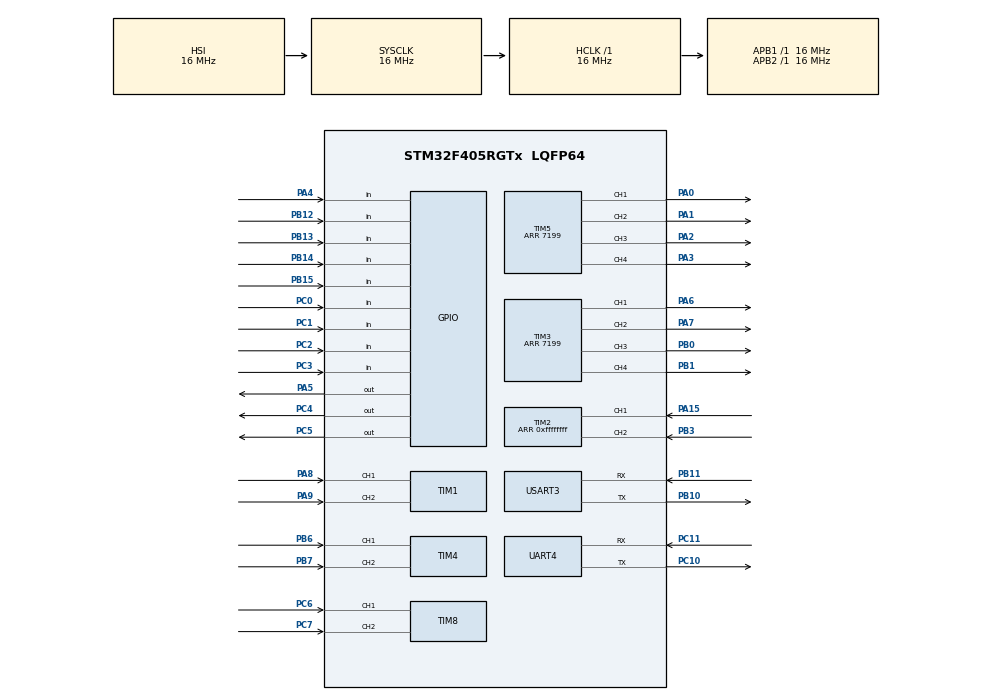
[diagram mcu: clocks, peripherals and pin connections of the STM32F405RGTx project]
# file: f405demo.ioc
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Dma.Request0=USART3_RX
Dma.Request1=USART3_TX
Dma.USART3_RX.0.Direction=DMA_PERIPH_TO_MEMORY
Dma.USART3_RX.0.FIFOMode=DMA_FIFOMODE_DISABLE
Dma.USART3_RX.0.Instance=DMA1_Stream1
Dma.USART3_RX.0.MemDataAlignment=DMA_MDATAALIGN_BYTE
Dma.USART3_RX.0.MemInc=DMA_MINC_ENABLE
Dma.USART3_RX.0.Mode=DMA_CIRCULAR
Dma.USART3_RX.0.PeriphDataAlignment=DMA_PDATAALIGN_BYTE
Dma.USART3_RX.0.PeriphInc=DMA_PINC_DISABLE
Dma.USART3_RX.0.Priority=DMA_PRIORITY_LOW
Dma.USART3_TX.1.Direction=DMA_MEMORY_TO_PERIPH
Dma.USART3_TX.1.FIFOMode=DMA_FIFOMODE_DISABLE
Dma.USART3_TX.1.Instance=DMA1_Stream3
Dma.USART3_TX.1.MemDataAlignment=DMA_MDATAALIGN_BYTE
Dma.USART3_TX.1.MemInc=DMA_MINC_ENABLE
Dma.USART3_TX.1.Mode=DMA_CIRCULAR
Dma.USART3_TX.1.PeriphDataAlignment=DMA_PDATAALIGN_BYTE
Dma.USART3_TX.1.PeriphInc=DMA_PINC_DISABLE
Dma.USART3_TX.1.Priority=DMA_PRIORITY_LOW
FREERTOS.Tasks01=defaultTask,24,128,StartDefaultTask,Default,NULL,Dynamic,NULL,NULL;motor_move,48,512,motor_move_entry,Default,NULL,Dynamic,NULL,NULL;remote_control,49,256,remote_control_entry,Default,NULL,Dynamic,NULL,NULL
FREERTOS.configENABLE_FPU=1
Mcu.Family=STM32F4
Mcu.Name=STM32F405RGTx
Mcu.Package=LQFP64
Mcu.UserConstants=soft_reset,$$_IWDG_IP_HANDLE_$$
NVIC.DMA1_Stream1_IRQn=true\:5\:0\:false\:false\:true\:true\:false\:true\:true
NVIC.DMA1_Stream3_IRQn=true\:5\:0\:false\:false\:true\:true\:false\:true\:true
NVIC.PriorityGroup=NVIC_PRIORITYGROUP_4
NVIC.TIM8_TRG_COM_TIM14_IRQn=true\:5\:0\:false\:false\:true\:false\:false\:true\:true
NVIC.TimeBase=TIM8_TRG_COM_TIM14_IRQn
NVIC.TimeBaseIP=TIM14
NVIC.UART4_IRQn=true\:5\:0\:false\:false\:true\:true\:true\:true\:true
NVIC.USART3_IRQn=true\:5\:0\:false\:false\:true\:true\:true\:true\:true
PA0-WKUP.GPIO_PuPd=GPIO_NOPULL
PA0-WKUP.GPIO_Speed=GPIO_SPEED_FREQ_LOW
PA0-WKUP.Signal=S_TIM5_CH1
PA1.GPIO_PuPd=GPIO_NOPULL
PA1.GPIO_Speed=GPIO_SPEED_FREQ_LOW
PA1.Signal=S_TIM5_CH2
PA13.Mode=Serial_Wire
PA13.Signal=SYS_JTMS-SWDIO
PA14.Mode=Serial_Wire
PA14.Signal=SYS_JTCK-SWCLK
PA15.GPIO_PuPd=GPIO_PULLUP
PA15.GPIO_Speed=GPIO_SPEED_FREQ_VERY_HIGH
PA15.Signal=S_TIM2_CH1_ETR
PA2.Signal=S_TIM5_CH3
PA3.Signal=S_TIM5_CH4
PA4.GPIO_PuPd=GPIO_PULLUP
PA4.Signal=GPIO_Input
PA5.GPIO_PuPd=GPIO_PULLUP
PA5.GPIO_Speed=GPIO_SPEED_FREQ_VERY_HIGH
PA5.PinState=GPIO_PIN_RESET
PA5.Signal=GPIO_Output
PA6.Signal=S_TIM3_CH1
PA7.Signal=S_TIM3_CH2
PA8.GPIO_PuPd=GPIO_PULLUP
PA8.GPIO_Speed=GPIO_SPEED_FREQ_VERY_HIGH
PA8.Signal=S_TIM1_CH1
PA9.GPIO_PuPd=GPIO_PULLUP
PA9.GPIO_Speed=GPIO_SPEED_FREQ_VERY_HIGH
PA9.Signal=S_TIM1_CH2
PB0.Signal=S_TIM3_CH3
PB1.Signal=S_TIM3_CH4
PB10.GPIO_PuPd=GPIO_PULLUP
PB10.Mode=Asynchronous
PB10.Signal=USART3_TX
PB11.GPIO_PuPd=GPIO_PULLUP
PB11.Mode=Asynchronous
PB11.Signal=USART3_RX
PB12.Signal=GPIO_Input
PB13.Signal=GPIO_Input
PB14.Signal=GPIO_Input
PB15.Signal=GPIO_Input
PB3.GPIO_PuPd=GPIO_PULLUP
PB3.GPIO_Speed=GPIO_SPEED_FREQ_VERY_HIGH
PB3.Signal=S_TIM2_CH2
PB6.GPIO_PuPd=GPIO_PULLUP
PB6.GPIO_Speed=GPIO_SPEED_FREQ_VERY_HIGH
PB6.Signal=S_TIM4_CH1
PB7.GPIO_PuPd=GPIO_PULLUP
PB7.GPIO_Speed=GPIO_SPEED_FREQ_VERY_HIGH
PB7.Signal=S_TIM4_CH2
PC0.Signal=GPIO_Input
PC1.Signal=GPIO_Input
PC10.Mode=Asynchronous
PC10.Signal=UART4_TX
PC11.Mode=Asynchronous
PC11.Signal=UART4_RX
PC2.Signal=GPIO_Input
PC3.Signal=GPIO_Input
PC4.GPIO_PuPd=GPIO_PULLUP
PC4.GPIO_Speed=GPIO_SPEED_FREQ_VERY_HIGH
PC4.Signal=GPIO_Output
PC5.GPIO_PuPd=GPIO_PULLUP
PC5.GPIO_Speed=GPIO_SPEED_FREQ_VERY_HIGH
PC5.Signal=GPIO_Output
PC6.GPIO_PuPd=GPIO_PULLUP
PC6.GPIO_Speed=GPIO_SPEED_FREQ_VERY_HIGH
PC6.Signal=S_TIM8_CH1
PC7.GPIO_PuPd=GPIO_PULLUP
PC7.GPIO_Speed=GPIO_SPEED_FREQ_VERY_HIGH
PC7.Signal=S_TIM8_CH2
ProjectManager.HeapSize=0x200
ProjectManager.StackSize=0x400
ProjectManager.TargetToolchain=CMake
RCC.AHBFreq_Value=16000000
RCC.APB1Freq_Value=16000000
RCC.APB2Freq_Value=16000000
RCC.CortexFreq_Value=16000000
RCC.HSE_VALUE=25000000
RCC.HSI_VALUE=16000000
RCC.LSE_VALUE=32768
RCC.SYSCLKFreq_VALUE=16000000
RCC.VCOOutputFreq_Value=192000000
SH.S_TIM1_CH1.0=TIM1_CH1,Encoder_Interface
SH.S_TIM1_CH2.0=TIM1_CH2,Encoder_Interface
SH.S_TIM2_CH1_ETR.0=TIM2_CH1,Encoder_Interface
SH.S_TIM2_CH2.0=TIM2_CH2,Encoder_Interface
SH.S_TIM3_CH1.0=TIM3_CH1,PWM Generation1 CH1
SH.S_TIM3_CH2.0=TIM3_CH2,PWM Generation2 CH2
SH.S_TIM3_CH3.0=TIM3_CH3,PWM Generation3 CH3
SH.S_TIM3_CH4.0=TIM3_CH4,PWM Generation4 CH4
SH.S_TIM4_CH1.0=TIM4_CH1,Encoder_Interface
SH.S_TIM4_CH2.0=TIM4_CH2,Encoder_Interface
SH.S_TIM5_CH1.0=TIM5_CH1,PWM Generation1 CH1
SH.S_TIM5_CH2.0=TIM5_CH2,PWM Generation2 CH2
SH.S_TIM5_CH3.0=TIM5_CH3,PWM Generation3 CH3
SH.S_TIM5_CH4.0=TIM5_CH4,PWM Generation4 CH4
SH.S_TIM8_CH1.0=TIM8_CH1,Encoder_Interface
SH.S_TIM8_CH2.0=TIM8_CH2,Encoder_Interface
TIM1.EncoderMode=TIM_ENCODERMODE_TI12
TIM2.EncoderMode=TIM_ENCODERMODE_TI12
TIM2.Period=0xffffffff
TIM3.Channel-PWM\ Generation1\ CH1=TIM_CHANNEL_1
TIM3.Channel-PWM\ Generation2\ CH2=TIM_CHANNEL_2
TIM3.Channel-PWM\ Generation3\ CH3=TIM_CHANNEL_3
TIM3.Channel-PWM\ Generation4\ CH4=TIM_CHANNEL_4
TIM3.Period=7199
TIM3.TIM_MasterOutputTrigger=TIM_TRGO_OC1
TIM4.EncoderMode=TIM_ENCODERMODE_TI12
TIM5.Channel-PWM\ Generation1\ CH1=TIM_CHANNEL_1
TIM5.Channel-PWM\ Generation2\ CH2=TIM_CHANNEL_2
TIM5.Channel-PWM\ Generation3\ CH3=TIM_CHANNEL_3
TIM5.Channel-PWM\ Generation4\ CH4=TIM_CHANNEL_4
TIM5.Period=7199
TIM5.TIM_MasterOutputTrigger=TIM_TRGO_OC1
TIM8.EncoderMode=TIM_ENCODERMODE_TI12
UART4.VirtualMode=Asynchronous
USART3.VirtualMode=VM_ASYNC
VP_FREERTOS_VS_CMSIS_V2.Mode=CMSIS_V2
VP_IWDG_VS_IWDG.Mode=IWDG_Activate
VP_SYS_VS_tim14.Mode=TIM14
VP_TIM3_VS_ClockSourceINT.Mode=Internal
VP_TIM5_VS_ClockSourceINT.Mode=Internal
board=custom

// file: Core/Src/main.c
/* USER CODE BEGIN Header */
/**
  ******************************************************************************
  * @file           : main.c
  * @brief          : Main program body
  ******************************************************************************
  * @attention
  *
  * Copyright (c) 2025 STMicroelectronics.
  * All rights reserved.
  *
  * This software is licensed under terms that can be found in the LICENSE file
  * in the root directory of this software component.
  * If no LICENSE file comes with this software, it is provided AS-IS.
  *
  ******************************************************************************
  */
/* USER CODE END Header */
#include "main.h"
#include "cmsis_os.h"
#include "dma.h"
#include "iwdg.h"
#include "tim.h"
#include "usart.h"
#include "gpio.h"

/* USER CODE BEGIN Includes */
#include "MotorContrl.h"
#include "ax_ps2.h"
/* USER CODE END Includes */

/* USER CODE BEGIN PTD */
extern JOYSTICK_TypeDef joystick_state;  //�ֱ���ֵ�ṹ��
/* USER CODE END PTD */

void SystemClock_Config(void);
void MX_FREERTOS_Init(void);

int main(void)
{

  /* MCU Configuration--------------------------------------------------------*/

  /* Reset of all peripherals, Initializes the Flash interface and the Systick. */
  HAL_Init();

  /* Configure the system clock */
  SystemClock_Config();

  /* Initialize all configured peripherals */
  MX_GPIO_Init();
  MX_DMA_Init();
  MX_TIM3_Init();
  MX_TIM5_Init();
  MX_IWDG_Init();
  MX_TIM1_Init();
  MX_TIM2_Init();
  MX_TIM4_Init();
  MX_TIM8_Init();
  MX_USART3_UART_Init();
  MX_UART4_Init();
  /* USER CODE BEGIN 2 */
	Motor_init();
  /* USER CODE END 2 */

  /* Init scheduler */
  osKernelInitialize();  /* Call init function for freertos objects (in cmsis_os2.c) */
  MX_FREERTOS_Init();

  /* Start scheduler */
  osKernelStart();

  /* We should never get here as control is now taken by the scheduler */

  /* Infinite loop */
  while (1)
  {

  }
}

void SystemClock_Config(void)
{
  RCC_OscInitTypeDef RCC_OscInitStruct = {0};
  RCC_ClkInitTypeDef RCC_ClkInitStruct = {0};

  /** Configure the main internal regulator output voltage
  */
  __HAL_RCC_PWR_CLK_ENABLE();
  __HAL_PWR_VOLTAGESCALING_CONFIG(PWR_REGULATOR_VOLTAGE_SCALE1);

  /** Initializes the RCC Oscillators according to the specified parameters
  * in the RCC_OscInitTypeDef structure.
  */
  RCC_OscInitStruct.OscillatorType = RCC_OSCILLATORTYPE_HSI|RCC_OSCILLATORTYPE_LSI;
  RCC_OscInitStruct.HSIState = RCC_HSI_ON;
  RCC_OscInitStruct.HSICalibrationValue = RCC_HSICALIBRATION_DEFAULT;
  RCC_OscInitStruct.LSIState = RCC_LSI_ON;
  RCC_OscInitStruct.PLL.PLLState = RCC_PLL_NONE;
  if (HAL_RCC_OscConfig(&RCC_OscInitStruct) != HAL_OK)
  {
    Error_Handler();
  }

  /** Initializes the CPU, AHB and APB buses clocks
  */
  RCC_ClkInitStruct.ClockType = RCC_CLOCKTYPE_HCLK|RCC_CLOCKTYPE_SYSCLK
                              |RCC_CLOCKTYPE_PCLK1|RCC_CLOCKTYPE_PCLK2;
  RCC_ClkInitStruct.SYSCLKSource = RCC_SYSCLKSOURCE_HSI;
  RCC_ClkInitStruct.AHBCLKDivider = RCC_SYSCLK_DIV1;
  RCC_ClkInitStruct.APB1CLKDivider = RCC_HCLK_DIV1;
  RCC_ClkInitStruct.APB2CLKDivider = RCC_HCLK_DIV1;

  if (HAL_RCC_ClockConfig(&RCC_ClkInitStruct, FLASH_LATENCY_0) != HAL_OK)
  {
    Error_Handler();
  }
}

void HAL_TIM_PeriodElapsedCallback(TIM_HandleTypeDef *htim)
{
  if (htim->Instance == TIM14)
  {
    HAL_IncTick();
  }
}

void Error_Handler(void)
{
  __disable_irq();
  while (1)
  {
  }
}

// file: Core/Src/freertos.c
/* USER CODE BEGIN Header */
/**
  ******************************************************************************
  * File Name          : freertos.c
  * Description        : Code for freertos applications
  ******************************************************************************
  * @attention
  *
  * Copyright (c) 2025 STMicroelectronics.
  * All rights reserved.
  *
  * This software is licensed under terms that can be found in the LICENSE file
  * in the root directory of this software component.
  * If no LICENSE file comes with this software, it is provided AS-IS.
  *
  ******************************************************************************
  */
/* USER CODE END Header */

#include "FreeRTOS.h"
#include "task.h"
#include "main.h"
#include "cmsis_os.h"

/* USER CODE BEGIN Includes */
#include "MotorContrl.h"
#include "usart.h"
#include <string.h>    // Ϊ memset, strncpy, strlen �Ⱥ���
#include <stdlib.h>    // Ϊ strtol ����
#include "ax_ps2.h"    // Ϊ parse_joystick_data ����������
#include "telemetry_uart4.h"
#include "tim.h"
#include <stdio.h>
/* USER CODE END Includes */

/* Definitions for defaultTask */
osThreadId_t defaultTaskHandle;
const osThreadAttr_t defaultTask_attributes = {
  .name = "defaultTask",
  .stack_size = 128 * 4,
  .priority = (osPriority_t) osPriorityNormal,
};
/* Definitions for motor_move */
osThreadId_t motor_moveHandle;
const osThreadAttr_t motor_move_attributes = {
  .name = "motor_move",
  .stack_size = 512 * 4,
  .priority = (osPriority_t) osPriorityRealtime,
};
/* Definitions for remote_control */
osThreadId_t remote_controlHandle;
const osThreadAttr_t remote_control_attributes = {
  .name = "remote_control",
  .stack_size = 256 * 4,
  .priority = (osPriority_t) osPriorityRealtime1,
};
/* Definitions for uart4_test */
osThreadId_t uart4_testHandle;
const osThreadAttr_t uart4_test_attributes = {
  .name = "uart4_test",
  .stack_size = 256 * 4,
  .priority = (osPriority_t) osPriorityLow,
};

void StartDefaultTask(void *argument);
void motor_move_entry(void *argument);
void remote_control_entry(void *argument);
void uart4_test_entry(void *argument);

void MX_FREERTOS_Init(void); /* (MISRA C 2004 rule 8.1) */

void MX_FREERTOS_Init(void) {

  /* Create the thread(s) */
  /* creation of defaultTask */
  defaultTaskHandle = osThreadNew(StartDefaultTask, NULL, &defaultTask_attributes);

  /* creation of motor_move */
  motor_moveHandle = osThreadNew(motor_move_entry, NULL, &motor_move_attributes);

  /* creation of remote_control */
  remote_controlHandle = osThreadNew(remote_control_entry, NULL, &remote_control_attributes);

  /* creation of uart4_test */
  uart4_testHandle = osThreadNew(uart4_test_entry, NULL, &uart4_test_attributes);

}

void StartDefaultTask(void *argument)
{
  for(;;)
  {
    osDelay(1);
  }
}

void motor_move_entry(void *argument)
{
  /* USER CODE BEGIN motor_move_entry */
  /* Infinite loop */
  for(;;)
  {
    if (v_input.source != INPUT_SOURCE_NONE) {
      Motor_apply_input(v_input);
    }
    osDelay(10);
  }
  /* USER CODE END motor_move_entry */
}

void remote_control_entry(void *argument)
{
  /* USER CODE BEGIN remote_control_entry */
  /* Infinite loop */
  for(;;)
  {

	if (uart_rx_complete) {
    uint16_t i = 0;
    uint8_t mode = 0;

    for (i = 0; i < RX_BUFFER_SIZE - 1; i++) {
      if ((uint8_t)uart_rx_buffer[i] == 0xAA && (uint8_t)uart_rx_buffer[i + 1] == 0x55) {
        if (i + 2 < RX_BUFFER_SIZE) {
          mode = (uint8_t)uart_rx_buffer[i + 2];
        }
        break;
      }
    }

    if (mode == 0x73) {
      if (parse_joystick_data((uint8_t*)uart_rx_buffer, &joystick_state) == 0) {
        Joystick_to_input(&joystick_state, &v_input);
      } else {
        v_input.source = INPUT_SOURCE_NONE;
      }
    } else {
      if (parse_cmd_vel_data((uint8_t*)uart_rx_buffer, &v_input) != 0) {
        v_input.source = INPUT_SOURCE_NONE;
      }
    }

    memset(uart_rx_buffer, 0, RX_BUFFER_SIZE);
    uart_rx_length = 0;
		uart_rx_complete = 0;
  }
    osDelay(1);
  }
  /* USER CODE END remote_control_entry */
}

void uart4_test_entry(void *argument)
{
  /* USER CODE BEGIN uart4_test_entry */
  #ifdef __TELEMETRY_UART4_ON
  TelemetryUart4_Init();
  extern JOYSTICK_TypeDef joystick_state;  // 声明全局摇杆状态变量
  extern Velocity_Input v_input;

  char buf[16];
  for(;;)
  {
    sprintf(buf, "%d", joystick_state.mode);
    TelemetryUart4_SendString("mode:");
    TelemetryUart4_SendString(buf);
    TelemetryUart4_SendString("\n");
    sprintf(buf, "%f", v_input.vx);
    TelemetryUart4_SendString("vx:");
    TelemetryUart4_SendString(buf);
    TelemetryUart4_SendString("\n");
    sprintf(buf, "%f", v_input.vy);
    TelemetryUart4_SendString("vy:");
    TelemetryUart4_SendString(buf);
    TelemetryUart4_SendString("\n");
    sprintf(buf, "%f", v_input.omega);
    TelemetryUart4_SendString("omega:");
    TelemetryUart4_SendString(buf);
    TelemetryUart4_SendString("\n--------\n");
    osDelay(500);
  }
  #endif
  /* USER CODE END uart4_test_entry */
}
